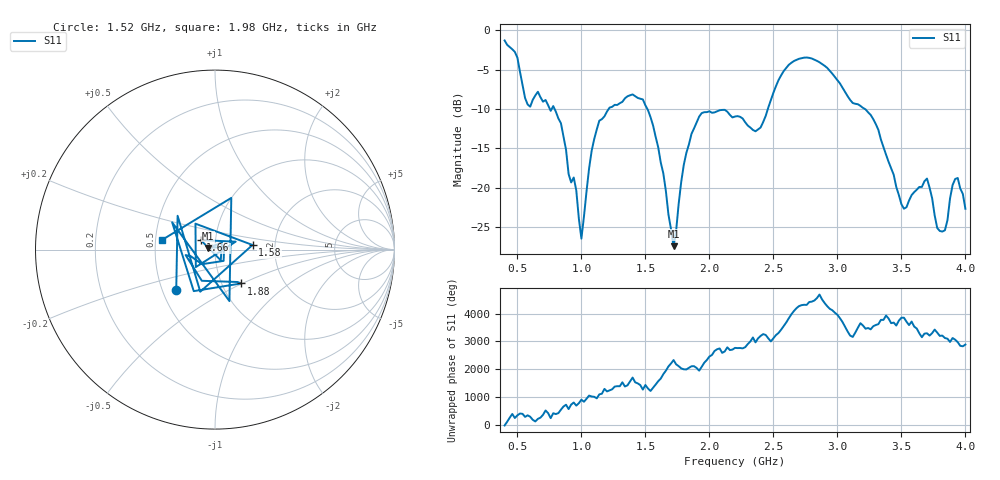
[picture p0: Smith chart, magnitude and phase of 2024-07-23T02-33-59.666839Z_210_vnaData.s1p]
!Created with skrf (http://scikit-rf.org).
# Hz S RI R 50.0
!freq ReS11 ImS11
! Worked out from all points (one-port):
!   181 points, 400 MHz to 4 GHz, reference 50 ohm
!   lowest |S11| = -27.4 dB at 1.72 GHz (marker M1), VSWR 1.09, Z = 46 + j0.871 ohm
!   |S11| at or under -10 dB: 790.9 MHz to 1.213 GHz (421.7 MHz wide, 42.1 % of centre); 1.516 GHz to 2.456 GHz (940.8 MHz wide, 47.4 % of centre); 3.216 GHz to end of sweep (the widest 3 of 4)
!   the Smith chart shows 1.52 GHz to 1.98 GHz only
!   S11 on the Smith chart (normalised r, x): 1.52 GHz: 0.59, -0.29; 1.58 GHz: 1.53, +0.08; 1.66 GHz: 0.85, +0.09; 1.88 GHz: 1.23, -0.49; 1.98 GHz: 0.54, +0.06
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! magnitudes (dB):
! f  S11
! 400 MHz  -1.3
! 500 MHz  -3.5
! 580 MHz  -9.4
! 660 MHz  -7.8
! 860 MHz  -13.5
! 960 MHz  -20.4
! 1 GHz  -26.5
! 1.12 GHz  -12.6
! 1.3 GHz  -9.3
! 1.52 GHz  -10.1
! 1.58 GHz  -13.5
! 1.66 GHz  -20.4
! 1.72 GHz  -27.4
! 1.76 GHz  -22.0
! 1.88 GHz  -12.5
! 1.98 GHz  -10.4
! 2.2 GHz  -10.9
! 2.4 GHz  -12.3
! 2.66 GHz  -3.9
! 2.9 GHz  -4.5
! 3.1 GHz  -8.8
! 3.28 GHz  -11.3
! 3.5 GHz  -22.1
! 3.56 GHz  -21.6
! 3.7 GHz  -18.8
! 3.82 GHz  -25.6
! 3.94 GHz  -18.8
! 4 GHz  -22.7
